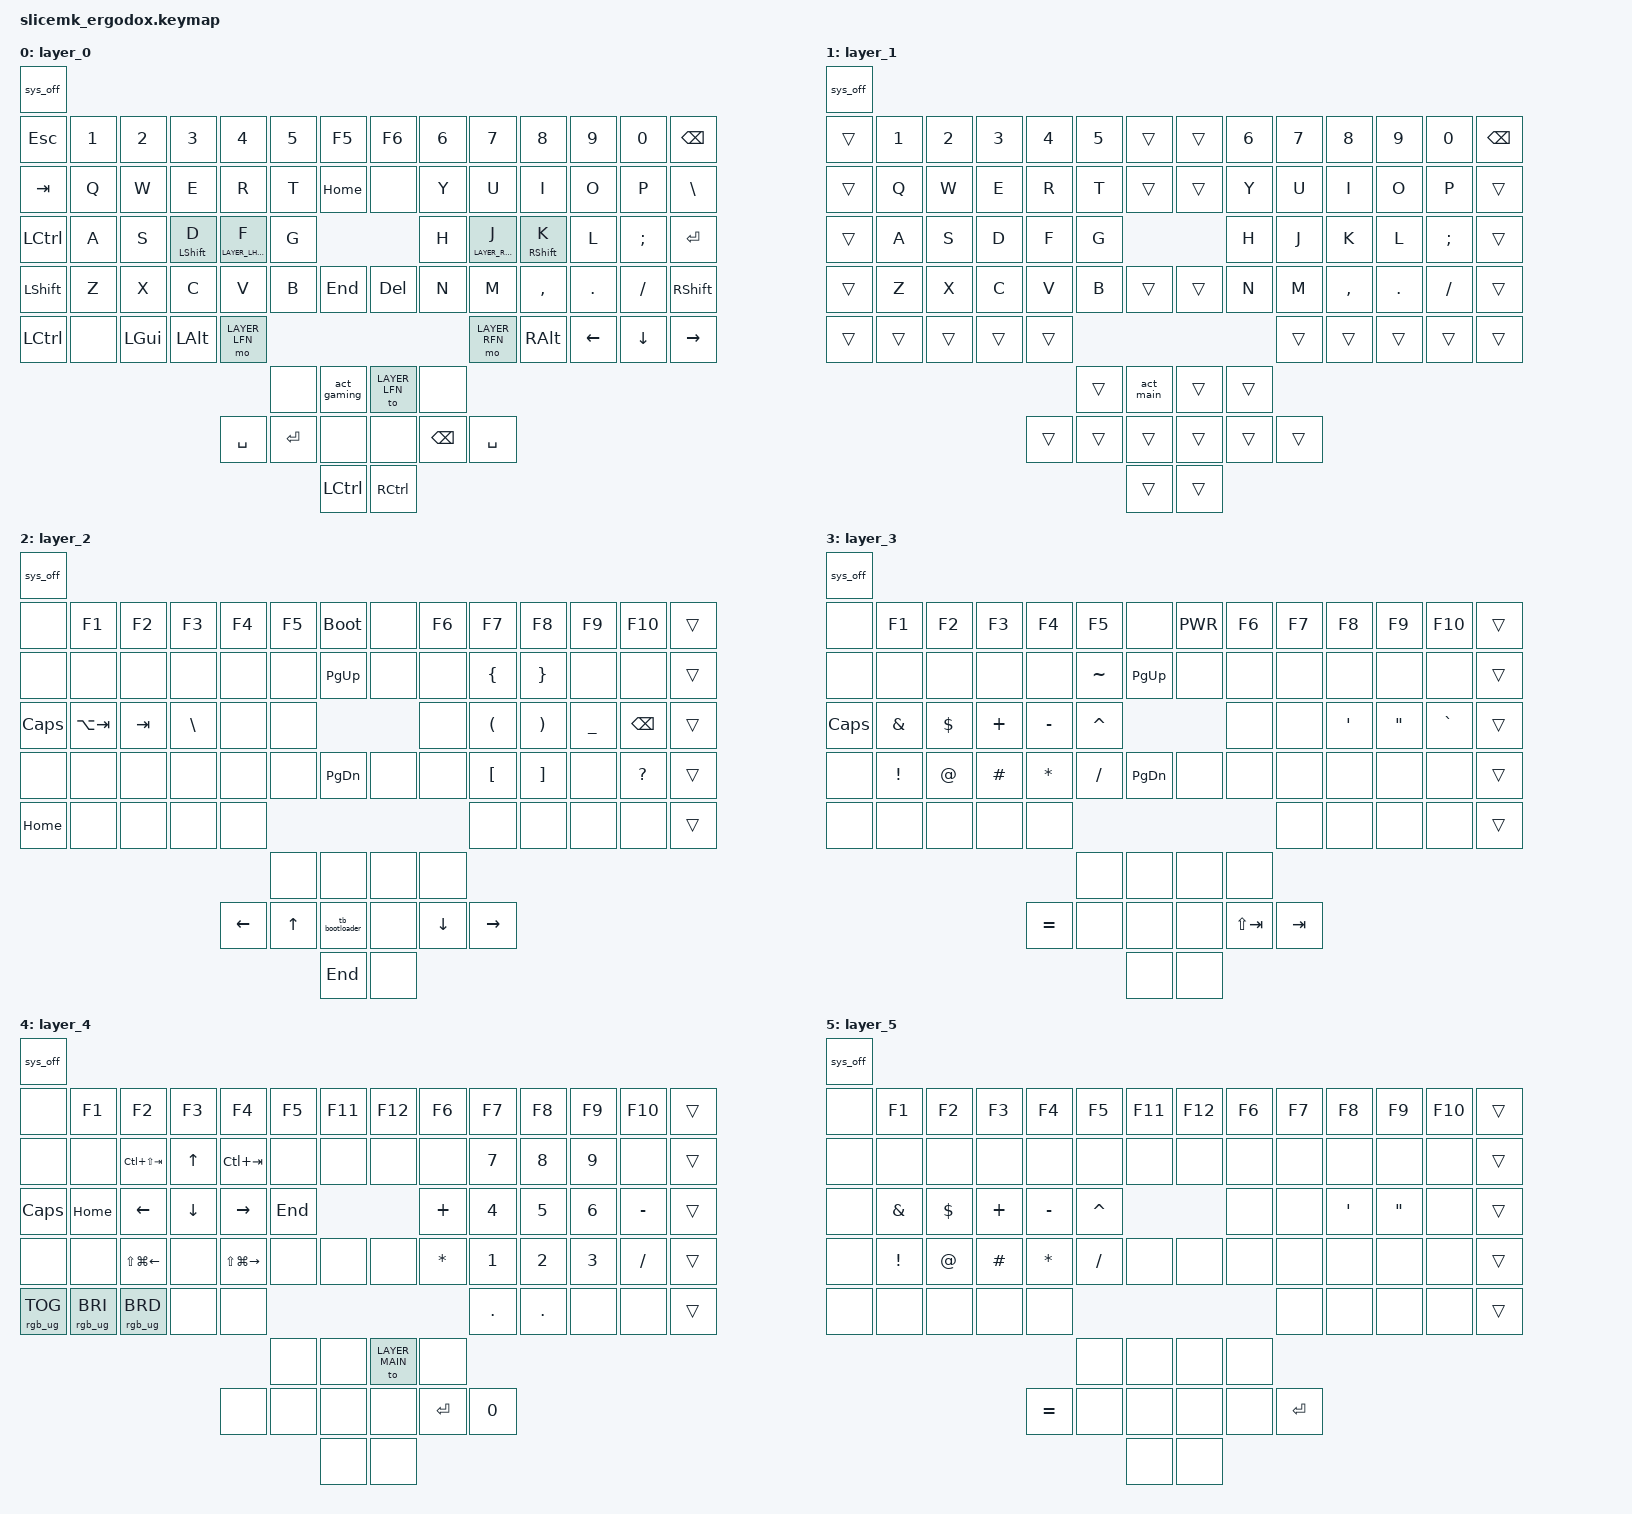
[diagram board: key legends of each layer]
#define LAYER_MAIN 0
#define LAYER_GAMING 1
#define LAYER_LHFN 2
#define LAYER_RHFN 3
#define LAYER_LFN 4
#define LAYER_RFN 5

#include <behaviors.dtsi>
#include <dt-bindings/zmk/bt.h>
#include <dt-bindings/zmk/keys.h>
#include <dt-bindings/zmk/mouse.h>
#include <dt-bindings/zmk/outputs.h>
#include <dt-bindings/zmk/rgb.h>
#include <interfaces/hid-trackball.dtsi>
#include <dt-bindings/zmk/mouse.h>

&lt {
	tapping-term-ms = <150>;
	require-prior-idle-ms = <125>;
	retro-tap;
};

&mt{
	retro-tap;
};

/ {
    macros {
        act_main: act_main {
            compatible = "zmk,behavior-macro";
            #binding-cells = <0>;
            bindings
                = <&to LAYER_MAIN>
                , <&kp F19>
                ;
        };
		act_gaming: act_gaming {
            compatible = "zmk,behavior-macro";
            #binding-cells = <0>;
            bindings
                = <&to LAYER_GAMING>
                , <&kp F20>
                ;
        };
		alt_tab: alt_tab {
			compatible = "zmk,behavior-macro";
			wait-ms = <40>;
			tap-ms = <40>;
			#binding-cells = <0>;
            bindings
                = <&kp LEFT_ALT &kp TAB>
                ;
		};
    };
};

/ {
	behaviors {
		hrm: home_row_mod {
			compatible = "zmk,behavior-hold-tap";
			#binding-cells = <2>;
			flavor = "balanced";
			tapping-term-ms = <150>;
			retro-tap;
			bindings = <&kp>, <&kp>;
		};
		hrl: home_row_layer {
			compatible = "zmk,behavior-hold-tap";
			#binding-cells = <2>;
			flavor = "balanced";
			tapping-term-ms = <150>;
			retro-tap;
			bindings = <&kp>, <&mo>;
		};
	};
};

/ {
	keymap {
		compatible = "zmk,keymap";
		layer_0 {
			bindings = <
				&sys_off
				&kp ESCAPE       &kp NUMBER_1 &kp NUMBER_2 &kp NUMBER_3   &kp NUMBER_4       &kp NUMBER_5        &kp F5                 &kp F6            &kp NUMBER_6    &kp NUMBER_7      &kp NUMBER_8   &kp NUMBER_9   &kp NUMBER_0   &kp BACKSPACE
				&kp TAB          &kp Q        &kp W        &kp E          &kp R              &kp T               &kp HOME               &none             &kp Y           &kp U             &kp I          &kp O          &kp P          &kp BACKSLASH
				&kp LEFT_CONTROL &kp A        &kp S        &hrm LSHIFT D  &hrl LAYER_LHFN F  &kp G                                                        &kp H          &hrl LAYER_RHFN J  &hrm RSHIFT K  &kp L          &kp SEMICOLON  &kp RETURN
				&kp LEFT_SHIFT   &kp Z        &kp X        &kp C          &kp V              &kp B               &kp END                &kp DEL           &kp N           &kp M             &kp COMMA      &kp PERIOD     &kp SLASH      &kp RIGHT_SHIFT
				&kp LEFT_CONTROL &none        &kp LEFT_GUI &kp LEFT_ALT   &mo LAYER_LFN                                                                                   &mo LAYER_RFN     &kp RIGHT_ALT  &kp LEFT_ARROW &kp DOWN_ARROW &kp RIGHT_ARROW
				                                                                             &none               &act_gaming            &to LAYER_LFN     &none
				                                                          &kp SPACE          &kp RETURN      &none                  &none             &kp BACKSPACE &kp SPACE
				                                                                                                 &kp LEFT_CONTROL       &kp RIGHT_CONTROL
			>;
		};
		layer_1 { //GAMING
			bindings = <
				&sys_off
				&trans &kp NUMBER_1 &kp NUMBER_2 &kp NUMBER_3  &kp NUMBER_4 &kp NUMBER_5 &trans           &trans         &kp NUMBER_6  &kp NUMBER_7      &kp NUMBER_8   &kp NUMBER_9  &kp NUMBER_0  &kp BACKSPACE
				&trans &kp Q        &kp W        &kp E         &kp R        &kp T        &trans           &trans         &kp Y         &kp U             &kp I          &kp O         &kp P         &trans
				&trans &kp A        &kp S        &kp D         &kp F        &kp G                                        &kp H         &kp J             &kp K          &kp L         &kp SEMICOLON &trans
				&trans &kp Z        &kp X        &kp C         &kp V        &kp B        &trans           &trans         &kp N         &kp M             &kp COMMA      &kp PERIOD    &kp SLASH     &trans
				&trans &trans       &trans       &trans        &trans                                                                  &trans            &trans         &trans        &trans        &trans
				                                                            &trans       &act_main        &trans      &trans
				                                               &trans       &trans       &trans           &trans         &trans        &trans
				                                                                         &trans           &trans
			>;
		};
		layer_2 { //LHFN
			bindings = <
				&sys_off
				&none     &kp F1       &kp F2   &kp F3        &kp F4          &kp F5        &bootloader           &none   &kp F6          &kp F7               &kp F8                &kp F9         &kp F10        &trans
				&none     &none        &none    &none         &none           &none         &kp PG_UP             &none   &none           &kp LEFT_BRACE       &kp RIGHT_BRACE       &none          &none          &trans
				&kp CAPS  &kp LA(TAB)  &kp TAB  &kp BACKSLASH &none           &none                                       &none           &kp LEFT_PARENTHESIS &kp RIGHT_PARENTHESIS &kp UNDERSCORE &kp BACKSPACE  &trans
				&none     &none        &none    &none         &none           &none         &kp PG_DN             &none   &none           &kp LEFT_BRACKET     &kp RIGHT_BRACKET     &none          &kp QUESTION   &trans
				&kp HOME  &none        &none    &none         &none                                                                       &none                &none                 &none          &none          &trans
				                                                              &none         &none                 &none   &none
				                                              &kp LEFT_ARROW  &kp UP_ARROW  &tb_bootloader        &none   &kp DOWN_ARROW  &kp RIGHT_ARROW
				                                                                            &kp END               &none
			>; \
		};		
		layer_3 { //RHFN
			bindings = <
				&sys_off
				&none    &kp F1          &kp F2      &kp F3   &kp F4       &kp F5    &none           &kp C_PWR &kp F6         &kp F7     &kp F8           &kp F9            &kp F10     &trans
				&none    &none           &none       &none    &none        &kp TILDE &kp PG_UP       &none     &none          &none      &none            &none             &none       &trans
				&kp CAPS &kp AMPERSAND   &kp DOLLAR  &kp PLUS &kp MINUS    &kp CARET                           &none          &none      &kp SINGLE_QUOTE &kp DOUBLE_QUOTES &kp GRAVE   &trans
				&none    &kp EXCLAMATION &kp AT_SIGN &kp HASH &kp ASTERISK &kp SLASH &kp PG_DN       &none     &none          &none      &none            &none             &none       &trans
				&none    &none           &none       &none    &none                                                           &none      &none            &none             &none       &trans
				                                                        &none     &none              &none     &none
				                                           &kp EQUAL    &none     &none              &none     &kp LS(TAB)  &kp TAB
				                                                                  &none              &none
			>;
		};
		layer_4 { //LFN
			bindings = <
				&sys_off
				&none    &kp F1    &kp F2                 &kp F3         &kp F4                  &kp F5  &kp F11 &kp F12 &kp F6       &kp F7       &kp F8       &kp F9       &kp F10   &trans
				&none    &none     &kp LC(LS(TAB))        &kp UP_ARROW   &kp LC(TAB)             &none   &none   &none   &none        &kp NUMBER_7 &kp NUMBER_8 &kp NUMBER_9 &none     &trans
				&kp CAPS &kp HOME  &kp LEFT_ARROW         &kp DOWN_ARROW &kp RIGHT_ARROW         &kp END                 &kp PLUS     &kp NUMBER_4 &kp NUMBER_5 &kp NUMBER_6 &kp MINUS &trans
				&none    &none     &kp LS(LG(LEFT_ARROW)) &none          &kp LS(LG(RIGHT_ARROW)) &none   &none   &none   &kp ASTERISK &kp NUMBER_1 &kp NUMBER_2 &kp NUMBER_3 &kp SLASH &trans
				&rgb_ug RGB_TOG    &rgb_ug RGB_BRI    &rgb_ug RGB_BRD                  &none          &none                                                        &kp PERIOD   &kp PERIOD   &none        &none     &trans
				                                                                                 &none   &none   &to LAYER_MAIN  &none
				                                                         &none                   &none   &none   &none  &kp RETURN   &kp NUMBER_0
				                                                                                         &none   &none
			>;
		};
		layer_5 { //RFN
			bindings = <
				&sys_off
				&none &kp F1          &kp F2      &kp F3   &kp F4       &kp F5    &kp F11 &kp F12 &kp F6 &kp F7     &kp F8           &kp F9            &kp F10 &trans
				&none &none           &none       &none    &none        &none     &none   &none   &none  &none      &none            &none             &none   &trans
				&none &kp AMPERSAND   &kp DOLLAR  &kp PLUS &kp MINUS    &kp CARET                 &none  &none      &kp SINGLE_QUOTE &kp DOUBLE_QUOTES &none   &trans
				&none &kp EXCLAMATION &kp AT_SIGN &kp HASH &kp ASTERISK &kp SLASH &none   &none   &none  &none      &none            &none             &none   &trans
				&none &none           &none       &none    &none                                         &none      &none            &none             &none   &trans
				                                                        &none     &none   &none   &none
				                                           &kp EQUAL    &none     &none   &none   &none  &kp RETURN
				                                                                  &none   &none
			>;
		};
	};
};
